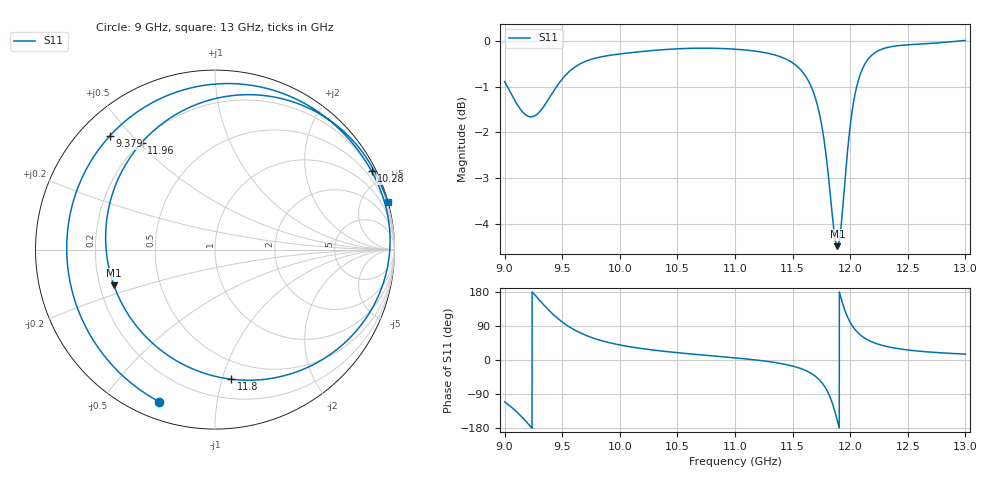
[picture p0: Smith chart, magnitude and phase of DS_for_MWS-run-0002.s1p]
! TOUCHSTONE file generated by CST DESIGN STUDIO
! Date and time: Tue Feb  4 14:26:43 2025
! Project name: C:\Work\MatlabApps\UnitCellOptimizationMatlab\CST\unitcell.cst
! Tree item: Tasks\Sweep1\SPara1\S-Parameters
! Header version: 2024
! Port assignment regex: !\s*Touchstone port\s*([0-9]+)\s*=\s*(CST MWS port|CST DES external port|CST DES block port)\s*(.+)\s* \(\"(.*)\"\)(\s*mode\s*([0-9]+))?.*
! Touchstone port assignment:
! Touchstone port 1 = CST DES external port 1 ("")
# GHz S MA R 50
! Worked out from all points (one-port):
!   4001 points, 9 GHz to 13 GHz, reference 50 ohm
!   lowest |S11| = -4.5 dB at 11.89 GHz (marker M1), VSWR 3.97, Z = 13 - j8.05 ohm
!   |S11| at or under -10 dB: nowhere
!   S11 on the Smith chart (normalised r, x): 9 GHz: 0.08, -0.69; 9.379 GHz: 0.09, +0.43; 10.28 GHz: 0.23, +4.22; 11.8 GHz: 0.35, -1.07; 11.96 GHz: 0.20, +0.51; 13 GHz: -0.01, +7.39
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9  0.9025 -110.3
9.102  0.8551 -136.1
9.213  0.8266 -171.1
9.293  0.8339 161.2
9.379  0.8627 132.9
9.5  0.9082 100.3
9.61  0.936 78.8
9.72  0.9513 63.3
10  0.9672 39.7
10.281  0.9755 26.6
10.5  0.9798 19.3
11  0.9788 5.6
11.297  0.9682 -4.4
11.5  0.9459 -16.0
11.607  0.9172 -26.9
11.686  0.875 -40.2
11.748  0.8147 -57.5
11.803  0.7274 -83.0
11.847  0.6412 -115.9
11.889  0.5973 -160.5
11.923  0.632 160.8
11.962  0.7225 124.5
12  0.8076 99.4
12.08  0.9132 68.3
12.173  0.9602 49.9
12.303  0.9816 36.6
12.5  0.9896 26.4
13  1.001 15.4
